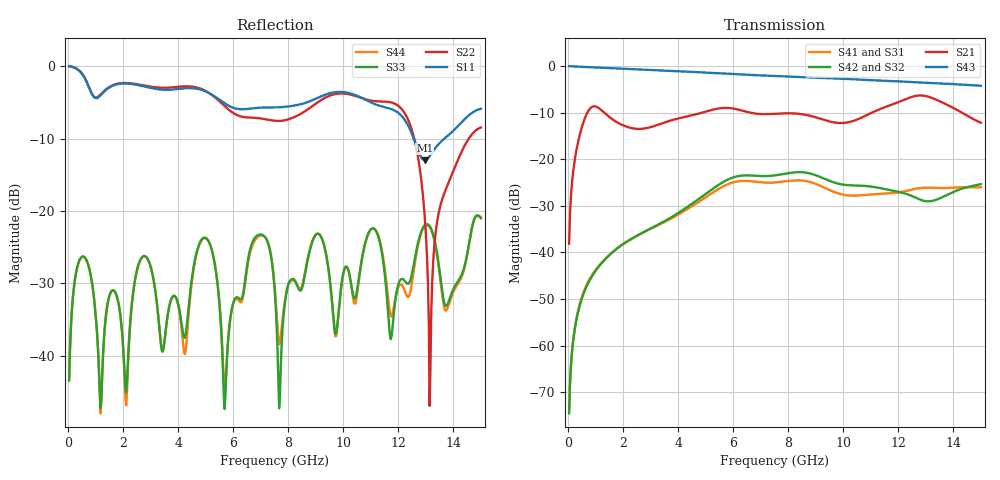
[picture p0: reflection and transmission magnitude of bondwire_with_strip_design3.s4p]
! Touchstone file exported from HFSS 2021.1.0
!  File:  /home/yxiao22/Documents/ANSYS/mstrip_wt_bondwire/bondwire_wt_strips.aedt
!  Generated:  12:10:39 PM  Feb 11, 2022
!  Design:  design3
!  Project:  bondwire_wt_strips
!  Setup:  Setup1
!  Solution:  Sweep
! Variables:
!  bondwire_diam = 0.1mm
!  gap_x = 15mm
!  gap_y = 10mm
!  main_x = 80mm
!  main_y = 10mm
!  sub2x = 10mm
!  sub2y = 80mm
!  sub2z = 1mm
!  sub_z = 1mm
!  tr1_len = 30mm
!  tr1_w = 2mm
!  tr2_len = 80mm
!  tr2_thickness = 0.0017mm
!  tr2_w = 2mm
!  tr_thickness = 0.0017mm
!  tr_width = 2mm
# GHz S MA R 50.000000
! Terminal data exported
! Port[1] = 1
! Port[2] = 2
! Port[3] = 3
! Port[4] = 4
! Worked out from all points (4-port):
!   499 points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, 30.06 MHz to 15 GHz, reference 50 ohm
!   strongest paths, dB at 30.06 MHz, 3.758 GHz, 7.515 GHz, 11.27 GHz, 15 GHz:
!     S43: -0.1, -1.1, -2.1, -3.1, -4.3
!     S21: -38.1, -11.6, -10.3, -9.4, -12.2
!     S42: -74.5, -32.4, -23.5, -26.1, -25.4
!     S32: -74.5, -32.4, -23.6, -26.2, -25.3
!     S41: -74.3, -32.7, -25.0, -27.5, -26.0
!     S31: -74.3, -32.7, -25.1, -27.6, -26.1
!   lowest |S11| = -13.0 dB at 12.96 GHz (marker M1), VSWR 1.58, Z = 73.6 + j14.9 ohm
!   |S11| at or under -10 dB: 12.56 GHz to 13.67 GHz (1.116 GHz wide, 8.51 % of centre)
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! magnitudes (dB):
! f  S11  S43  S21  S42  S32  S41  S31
! 30.06 MHz  0.0  -0.1  -38.1  -74.5  -74.5  -74.3  -74.3
! 841.7 MHz  -3.7  -0.3  -8.9  -45.3  -45.2  -45.0  -45.1
! 5.02 GHz  -3.5  -1.4  -9.8  -27.4  -27.3  -28.1  -28.1
! 5.651 GHz  -5.1  -1.6  -9.0  -24.8  -24.8  -25.8  -25.8
! 12.96 GHz  -13.0  -3.6  -6.4  -29.0  -28.8  -26.1  -26.2
! 13.17 GHz  -12.3  -3.7  -6.8  -29.0  -28.9  -26.1  -26.2
! 15 GHz  -5.9  -4.3  -12.2  -25.4  -25.3  -26.0  -26.1
